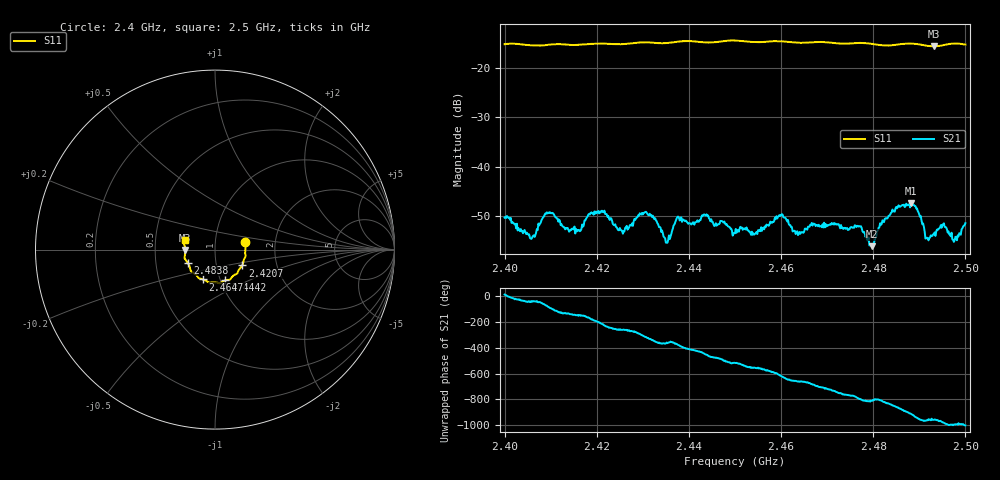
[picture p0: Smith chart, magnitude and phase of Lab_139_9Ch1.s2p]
# Hz S RI R 50
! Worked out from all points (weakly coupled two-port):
!   601 points, 2.4 GHz to 2.5 GHz, reference 50 ohm
!   highest |S21| = -47.32 dB at 2.4882 GHz (marker M1); lowest = -56.0 dB at 2.4797 GHz (marker M2)
!   lowest |S11| = -15.6 dB at 2.4932 GHz (marker M3), VSWR 1.40, Z = 35.8 - j0.146 ohm
!   |S11| at or under -10 dB: start of sweep to end of sweep
!   S12 and S22 are empty: the file has one direction only
!   S11 on the Smith chart (normalised r, x): 2.4 GHz: 1.40, +0.12; 2.4207 GHz: 1.33, -0.24; 2.4442 GHz: 1.05, -0.37; 2.4647 GHz: 0.83, -0.29; 2.4838 GHz: 0.73, -0.11; 2.5 GHz: 0.71, +0.08
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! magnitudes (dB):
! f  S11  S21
! 2.4 GHz  -15.2  -50.2
! 2.406 GHz  -15.4  -54.2
! 2.4093 GHz  -15.3  -49.4
! 2.4167 GHz  -15.3  -52.5
! 2.4207 GHz  -15.1  -49.0
! 2.4253 GHz  -15.2  -52.8
! 2.4303 GHz  -14.8  -49.2
! 2.4333 GHz  -15.0  -51.6
! 2.4353 GHz  -15.0  -55.3
! 2.4377 GHz  -14.7  -50.0
! 2.4442 GHz  -14.9  -49.8
! 2.45 GHz  -14.5  -53.4
! 2.4598 GHz  -14.6  -49.9
! 2.4647 GHz  -14.9  -53.2
! 2.4667 GHz  -14.8  -51.3
! 2.477 GHz  -14.9  -52.0
! 2.4797 GHz  -15.1  -56.0
! 2.4833 GHz  -15.5  -49.9
! 2.4838 GHz  -15.4  -49.3
! 2.4882 GHz  -15.1  -47.3
! 2.4932 GHz  -15.6  -53.5
! 2.5 GHz  -15.3  -51.3
